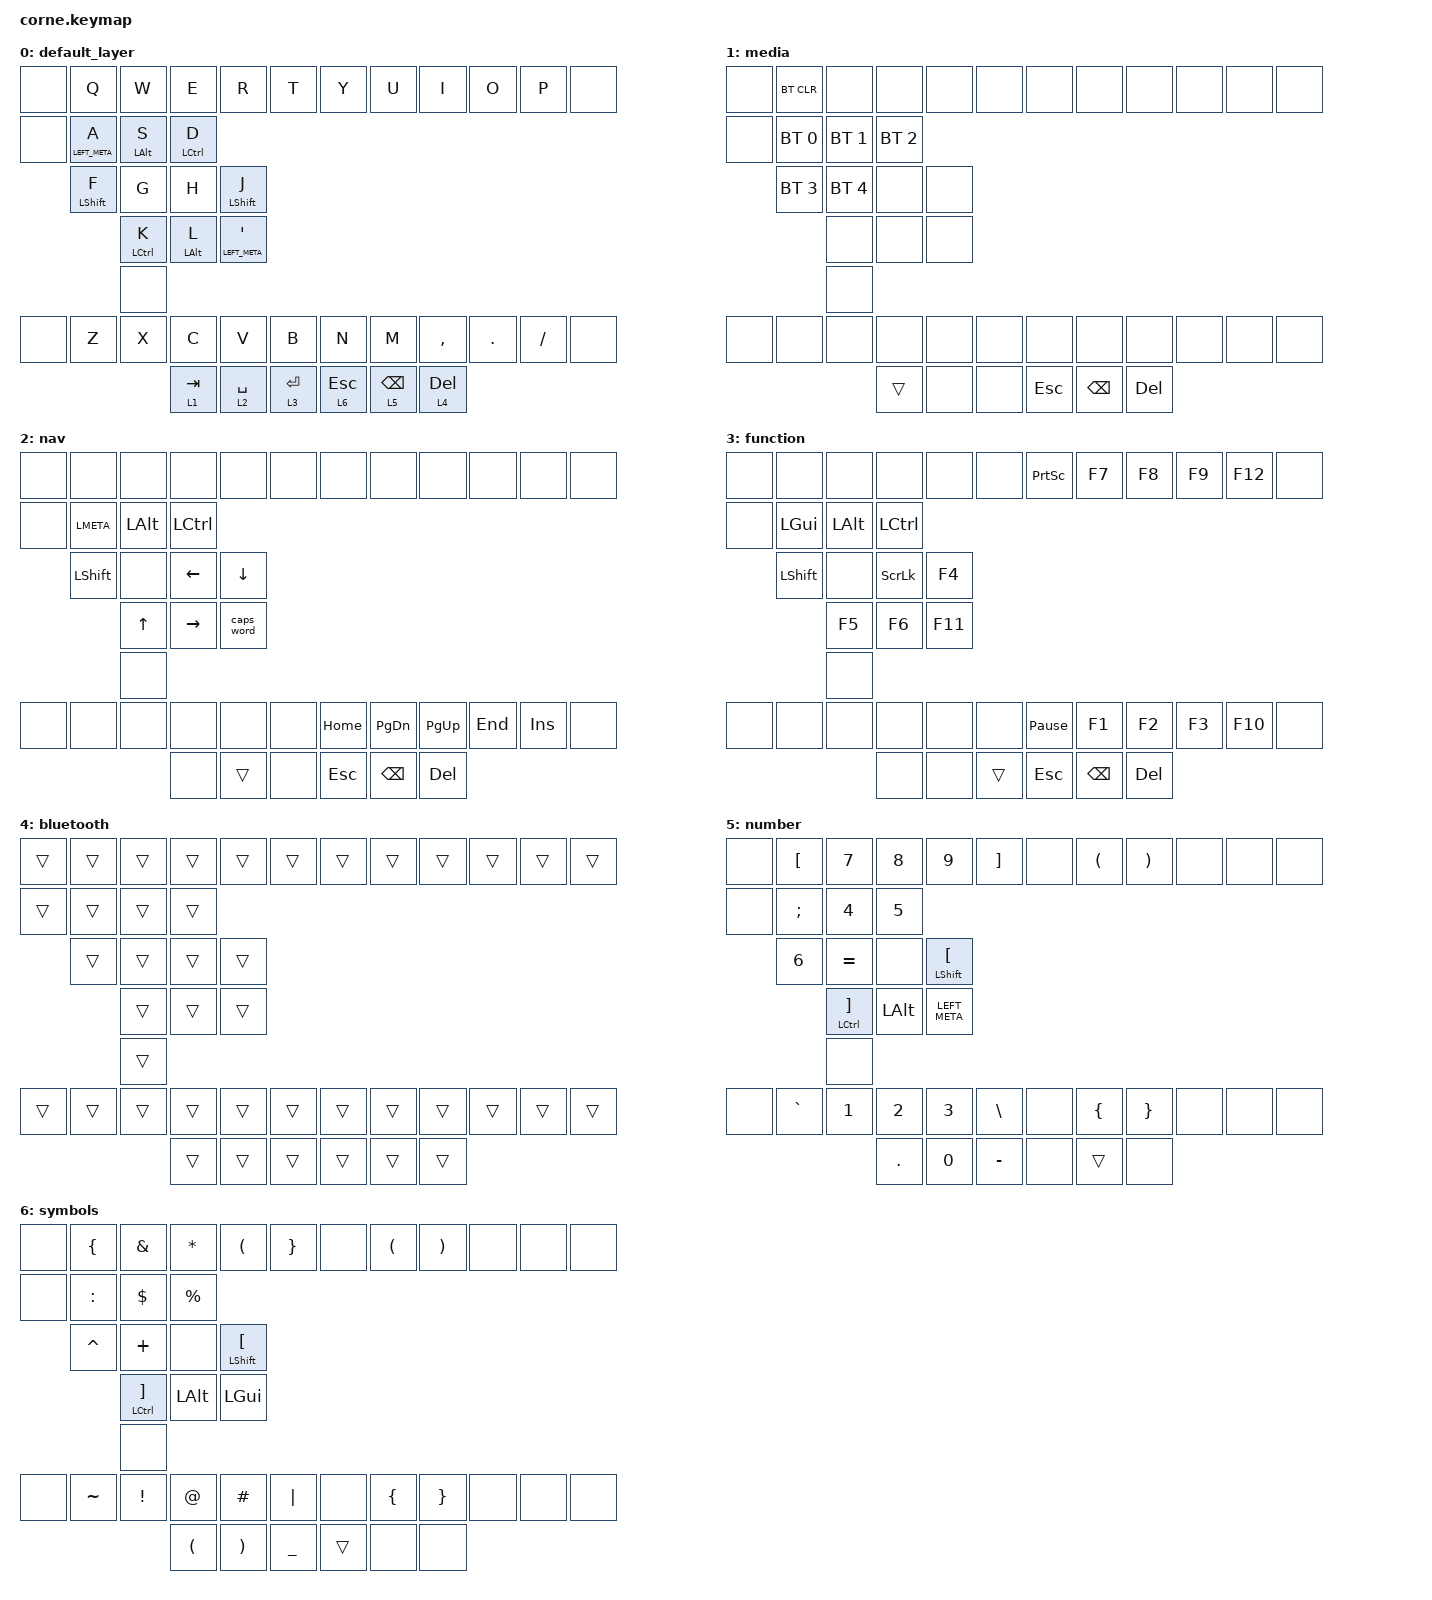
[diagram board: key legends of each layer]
/*
 * Copyright (c) 2020 The ZMK Contributors
 *
 * SPDX-License-Identifier: MIT
 */

#include <behaviors.dtsi>
#include <dt-bindings/zmk/bt.h>
#include <dt-bindings/zmk/keys.h>

&mt { tapping-term-ms = <150>; };

/ {
    behaviors {
        hml: home_row_mod_left {
            compatible = "zmk,behavior-hold-tap";
            #binding-cells = <2>;
            flavor = "balanced";
            require-prior-idle-ms = <150>;
            tapping-term-ms = <280>;
            quick-tap-ms = <175>;
            bindings = <&kp>, <&kp>;
            hold-trigger-key-positions = <6 7 8 9 10 11 18 19 20 21
        22 23 30 31 32 33 34 35 36 37 38 39 40 41>;
            hold-trigger-on-release;
        };
        hmr: home_row_mod_right {
            compatible = "zmk,behavior-hold-tap";
            #binding-cells = <2>;
            flavor = "balanced";
            require-prior-idle-ms = <150>;
            tapping-term-ms = <280>;
            quick-tap-ms = <175>;
            bindings = <&kp>, <&kp>;
            hold-trigger-key-positions = < 0 1 2 3 5 6 12 13 14 15
        16 17 24 25 26 27 28 29 36 37 38 39 40 41 >;
            hold-trigger-on-release;
        };
    };
    keymap {
        compatible = "zmk,keymap";

        default_layer {
            bindings = <
&none  &kp Q            &kp W           &kp E        &kp R             &kp T          &kp Y         &kp U             &kp I         &kp O           &kp P                       &none
&none  &hml LEFT_META A &hml LEFT_ALT S &hml LCTRL D
        &hml LEFT_SHIFT F &kp G          &kp H         &hmr
        LEFT_SHIFT J &hmr LCTRL K  &hmr LEFT_ALT L &hmr
        LEFT_META SINGLE_QUOTE  &none
&none  &kp Z            &kp X           &kp C        &kp V             &kp B          &kp N         &kp M             &kp COMMA     &kp DOT         &kp FSLH                    &none
                                        &lt 1 TAB    &lt 2 SPACE       &lt 3 ENTER    &lt 6 ESCAPE  &lt 5 BACKSPACE   &lt 4 DELETE
            >;
        };
        media {

            bindings = <
&none  &bt BT_CLR    &none         &none         &none         &none           &none       &none          &none       &none  &none  &none
&none  &bt BT_SEL 0  &bt BT_SEL 1  &bt BT_SEL 2  &bt BT_SEL 3  &bt BT_SEL 4    &none       &none          &none       &none  &none  &none
&none  &none         &none         &none         &none         &none           &none       &none          &none       &none  &none  &none
                                   &trans        &none         &none           &kp ESCAPE  &kp BACKSPACE  &kp DELETE
            >;
        };

        nav {
            bindings = <
&none  &none      &none         &none      &none           &none    &none       &none          &none       &none      &none       &none
&none  &kp LMETA  &kp LEFT_ALT  &kp LCTRL  &kp LEFT_SHIFT  &none    &kp LEFT    &kp DOWN       &kp UP      &kp RIGHT  &caps_word  &none
&none  &none      &none         &none      &none           &none    &kp HOME    &kp PAGE_DOWN  &kp PG_UP   &kp END    &kp INS     &none
                                &none      &trans          &none    &kp ESCAPE  &kp BACKSPACE  &kp DELETE
            >;
        };

        function {
            bindings = <
&none  &none     &none     &none      &none      &none     &kp PRINTSCREEN  &kp F7    &kp F8      &kp F9  &kp F12  &none
&none  &kp LGUI  &kp LALT  &kp LCTRL  &kp LSHFT  &none     &kp SCROLLLOCK   &kp F4    &kp F5      &kp F6  &kp F11  &none
&none  &none     &none     &none      &none      &none     &kp PAUSE_BREAK  &kp F1    &kp F2      &kp F3  &kp F10  &none
                           &none      &none      &trans    &kp ESC          &kp BSPC  &kp DELETE
            >;
        };

        bluetooth {
            bindings = <
&trans  &trans  &trans  &trans  &trans  &trans    &trans  &trans  &trans  &trans  &trans  &trans
&trans  &trans  &trans  &trans  &trans  &trans    &trans  &trans  &trans  &trans  &trans  &trans
&trans  &trans  &trans  &trans  &trans  &trans    &trans  &trans  &trans  &trans  &trans  &trans
                        &trans  &trans  &trans    &trans  &trans  &trans
            >;
        };

        number {
            bindings = <
&none  &kp LBKT   &kp N7  &kp N8   &kp N9  &kp RBKT     &none  &kp LEFT_PARENTHESIS         &kp RIGHT_PARENTHESIS    &none         &none          &none
&none  &kp SEMI   &kp N4  &kp N5   &kp N6  &kp EQUAL    &none  &hmr 
        LEFT_SHIFT LEFT_BRACKET &hmr  LCTRL  RIGHT_BRACKET &kp LEFT_ALT  &kp LEFT_META  &none
&none  &kp GRAVE  &kp N1  &kp N2   &kp N3  &kp BSLH     &none  &kp LEFT_BRACE               &kp RIGHT_BRACE          &none         &none          &none
                          &kp DOT  &kp N0  &kp MINUS    &none  &trans                       &none
            >;
        };

        symbols {
            bindings = <
&none  &kp LEFT_BRACE  &kp AMPERSAND    &kp ASTERISK          &kp LEFT_PARENTHESIS   &kp RIGHT_BRACE    &none   &kp LEFT_PARENTHESIS         &kp RIGHT_PARENTHESIS    &none     &none     &none
&none  &kp COLON       &kp DOLLAR       &kp PERCENT           &kp CARET
        &kp PLUS           &none   &hmr LEFT_SHIFT LEFT_BRACKET &hmr
        LCTRL RIGHT_BRACKET &kp LALT  &kp LGUI  &none
&none  &kp TILDE       &kp EXCLAMATION  &kp AT_SIGN           &kp HASH               &kp PIPE           &none   &kp LEFT_BRACE               &kp RIGHT_BRACE          &none     &none     &none
                                        &kp LEFT_PARENTHESIS  &kp RIGHT_PARENTHESIS  &kp UNDER          &trans  &none                        &none
            >;
        };
    };
};
